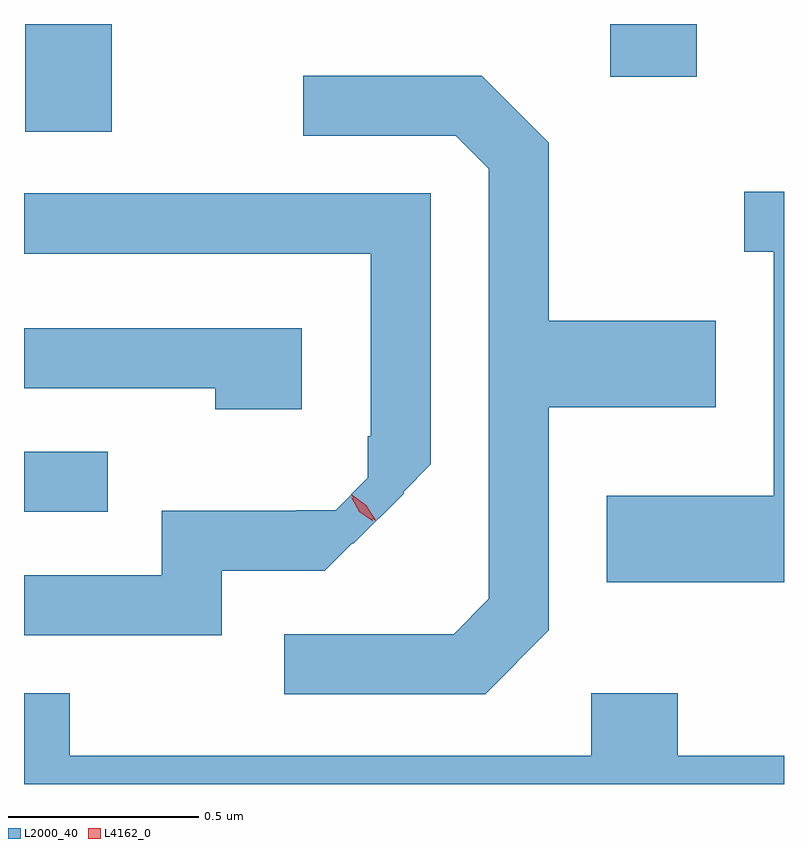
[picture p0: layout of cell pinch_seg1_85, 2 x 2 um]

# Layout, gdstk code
import gdstk
lib = gdstk.Library(unit=1e-6, precision=1e-09)
def R(c, l, rs):  # rectangles x0, y0, x1, y1
    for r in rs: c.add(gdstk.rectangle(r[:2], r[2:], *l))
def P(c, l, *ps):  # polygons
    for p in ps: c.add(gdstk.Polygon(p, *l))
L2000_40 = (2000, 40)
L4162_0 = (4162, 0)

pinch_seg1_85 = lib.new_cell('pinch_seg1_85')
R(pinch_seg1_85, L2000_40, [(1023.828,873.846,1024.048,874.004), (1023.831,874.846,1024.059,875.13), (1025.371,874.991,1025.599,875.13)])
P(pinch_seg1_85, L2000_40, [(1025.209,873.534),(1025.209,874.121),(1025.649,874.121),(1025.649,874.349),(1025.209,874.349),(1025.209,874.817),(1025.032,874.994),(1024.563,874.994),(1024.563,874.836),(1024.964,874.836),(1025.051,874.749),(1025.051,873.617),(1024.959,873.524),(1024.513,873.524),(1024.513,873.366),(1025.042,873.366)],
  [(1025.828,874.689),(1025.723,874.689),(1025.723,874.531),(1025.801,874.531),(1025.801,873.889),(1025.361,873.889),(1025.361,873.661),(1025.828,873.661)],
  [(1024.349,873.691),(1024.619,873.691),(1024.692,873.764),(1024.695,873.762),(1024.828,873.895),(1024.826,873.898),(1024.899,873.971),(1024.899,874.684),(1023.828,874.684),(1023.828,874.526),(1024.741,874.526),(1024.741,874.045),(1024.733,874.045),(1024.733,873.936),(1024.648,873.851),(1024.545,873.851),(1024.545,873.849),(1024.191,873.849),(1024.191,873.679),(1023.828,873.679),(1023.828,873.521),(1024.349,873.521)],
  [(1024.559,874.329),(1023.828,874.329),(1023.828,874.171),(1024.331,874.171),(1024.331,874.116),(1024.559,874.116)],
  [(1025.828,873.204),(1025.549,873.204),(1025.549,873.369),(1025.321,873.369),(1025.321,873.204),(1023.949,873.204),(1023.949,873.369),(1023.828,873.369),(1023.828,873.13),(1025.828,873.13)])
P(pinch_seg1_85, L4162_0, [(1024.753,873.823),(1024.714,873.851),(1024.689,873.892),(1024.689,873.892),(1024.689,873.892),(1024.728,873.864),(1024.754,873.824),(1024.754,873.823)],
  [(1024.745,873.823),(1024.71,873.847),(1024.689,873.884),(1024.689,873.884),(1024.689,873.884),(1024.725,873.86),(1024.746,873.824),(1024.746,873.823)])

lib.write_gds('pinch_seg1_85.gds')
